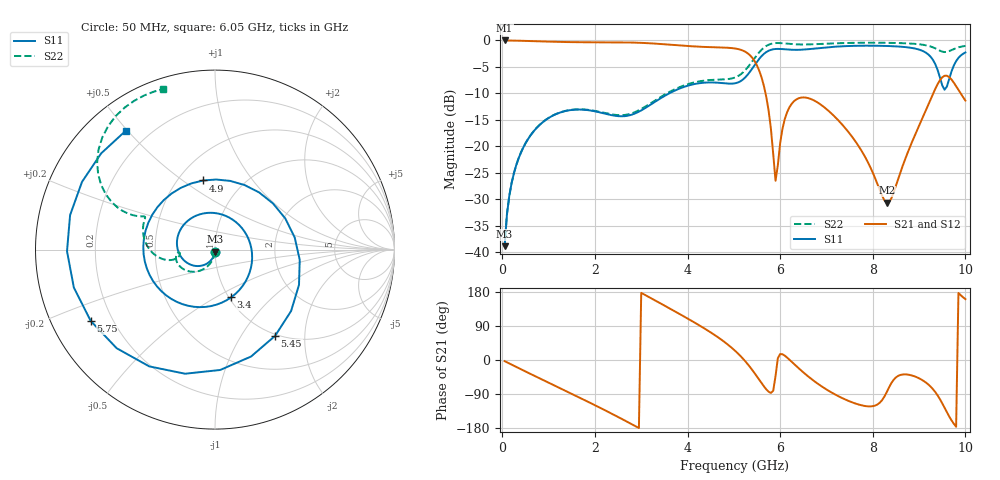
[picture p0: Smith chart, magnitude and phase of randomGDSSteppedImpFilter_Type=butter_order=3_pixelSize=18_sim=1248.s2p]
! freq	dB(S11)	phase(S11)	dB(S12)	phase(S12)
!  dB(S21)	phase(S21)	dB(S22)	phase(S22)
!S-par simulation data
#  GHz  S  DB  R 50
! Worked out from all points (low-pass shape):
!   200 points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, 50 MHz to 10 GHz, reference 50 ohm
!   highest |S21| = -0.01 dB at 50 MHz (marker M1); lowest = -30.7 dB at 8.3 GHz (marker M2)
!   |S21| within 3 dB of the highest: start of sweep to 5.369 GHz
!   lowest |S11| = -38.9 dB at 50 MHz (marker M3), VSWR 1.02, Z = 50 - j1.14 ohm
!   |S11| at or under -10 dB: start of sweep to 3.605 GHz
!   |S22| runs from -38.9 to -0.4 dB; largest |S21 - S12| = 0
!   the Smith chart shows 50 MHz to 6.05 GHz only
!   S11 on the Smith chart (normalised r, x): 50 MHz: 1.00, -0.02; 3.4 GHz: 1.03, -0.59; 4.9 GHz: 0.66, +0.60; 5.45 GHz: 0.98, -1.43; 5.75 GHz: 0.12, -0.26; 6.05 GHz: 0.12, +0.49
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0.05  -38.87 -91.6  -0.01 -3.1  -0.01 -3.1  -38.86 -90.5
0.2  -27.00 -104.3  -0.03 -12.2  -0.03 -12.2  -26.98 -100.2
0.5  -19.46 -125.9  -0.09 -30.2  -0.09 -30.2  -19.44 -115.4
1.75  -13.09 137.6  -0.35 -104.2  -0.35 -104.2  -13.04 -167.0
2.65  -14.30 31.1  -0.37 -159.9  -0.37 -159.9  -14.07 -171.8
3.4  -11.03 -71.3  -0.66 150.5  -0.66 150.5  -10.78 -169.1
4.35  -7.99 -176.1  -1.23 84.3  -1.23 84.3  -7.60 164.4
4.9  -8.16 99.7  -1.41 37.7  -1.41 37.7  -7.27 154.9
5.05  -8.05 65.4  -1.56 21.7  -1.56 21.7  -6.91 155.7
5.45  -4.65 -55.1  -3.94 -35.1  -3.94 -35.1  -3.33 153.2
5.75  -1.96 -150.1  -13.22 -83.7  -13.22 -83.7  -0.82 130.8
5.9  -1.62 166.6  -26.51 -42.8  -26.51 -42.8  -0.51 118.5
6.05  -1.64 127.0  -16.69 15.2  -16.69 15.2  -0.53 108.1
6.3  -1.78 68.0  -11.48 -10.5  -11.48 -10.5  -0.72 94.5
6.7  -1.58 -7.4  -11.21 -52.5  -11.21 -52.5  -0.73 76.6
7.35  -1.10 -87.3  -16.00 -101.1  -16.00 -101.1  -0.50 48.2
8.3  -1.05 -161.0  -30.65 -85.2  -30.65 -85.2  -0.46 7.7
8.35  -1.06 -164.5  -30.56 -72.7  -30.56 -72.7  -0.46 5.6
9.2  -2.66 115.3  -12.11 -64.7  -12.11 -64.7  -1.03 -30.2
9.5  -8.49 13.8  -6.97 -114.4  -6.97 -114.4  -2.12 -38.4
9.7  -5.86 -114.1  -7.39 -159.1  -7.39 -159.1  -1.83 -38.7
10  -2.28 179.0  -11.37 160.7  -11.37 160.7  -1.05 -49.5
